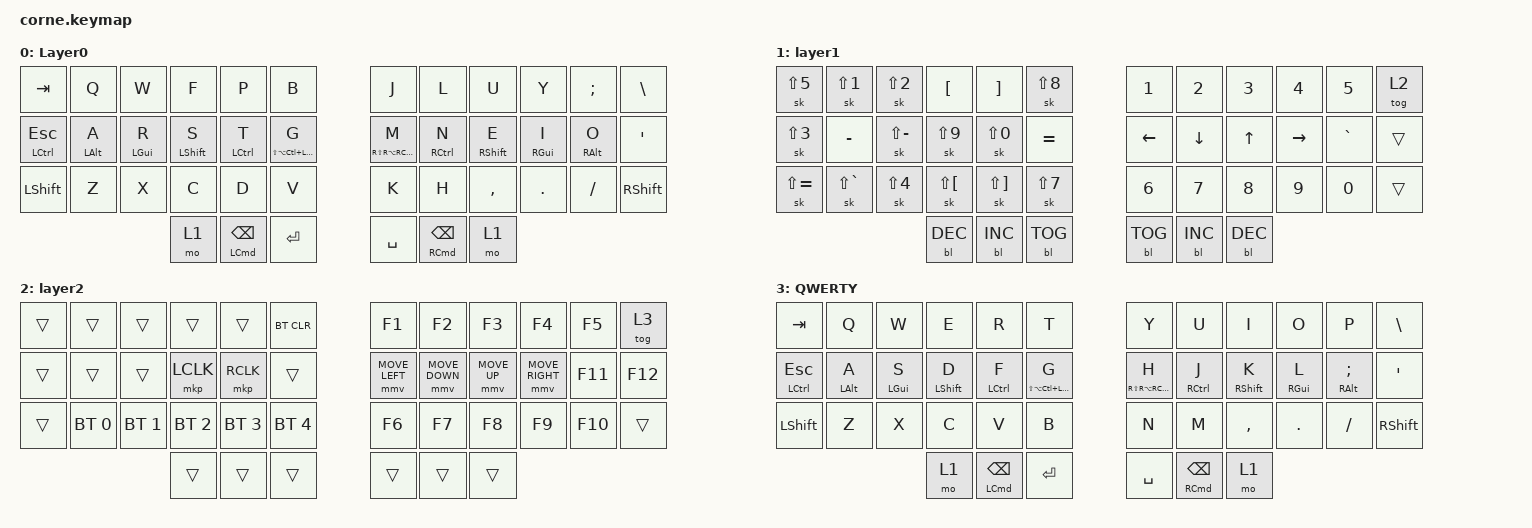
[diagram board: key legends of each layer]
/*
 * Copyright (c) 2020 The ZMK Contributors
 * Jason Biggs
 *
 * SPDX-License-Identifier: MIT
 */

#include <behaviors.dtsi>
#include <dt-bindings/zmk/backlight.h>
#include <dt-bindings/zmk/bt.h>
#include <dt-bindings/zmk/keys.h>
#include <dt-bindings/zmk/pointing.h>

/ {
    /* combos { */
    /*     compatible = "zmk,combos"; */
    /**/
    /*     left-layer2-toggle { */
    /*         bindings = <&tog 2>; */
    /*         key-positions = <37 38>; */
    /*     }; */
    /**/
    /*     right-layer2-toggle { */
    /*         bindings = <&tog 2>; */
    /*         key-positions = <39 40>; */
    /*     }; */
    /* }; */

    behaviors {
        hmr: hmr {
            compatible = "zmk,behavior-hold-tap";
            label = "HMR";
            bindings = <&kp>, <&kp>;

            #binding-cells = <2>;
            tapping-term-ms = <200>;
            quick-tap-ms = <180>;
            flavor = "tap-preferred";
            hold-trigger-on-release;
            hold-trigger-key-positions = <6 7 8 9 10 11 18 19 20 21 22 23 30 31 32 33 34 35 39 40 41 36 37 38>;
        };

        hml: hml {
            compatible = "zmk,behavior-hold-tap";
            label = "HML";
            bindings = <&kp>, <&kp>;

            #binding-cells = <2>;
            hold-trigger-key-positions = <0 1 2 4 5 12 13 14 15 16 17 24 25 26 27 28 29 36 37 38 39 40 41 3>;
            tapping-term-ms = <200>;
            quick-tap-ms = <180>;
            hold-trigger-on-release;
            flavor = "tap-preferred";
        };

        hmrs: hmrs {
            compatible = "zmk,behavior-hold-tap";
            label = "HMRS";
            bindings = <&kp>, <&kp>;

            #binding-cells = <2>;
            quick-tap-ms = <200>;
            tapping-term-ms = <250>;
            flavor = "tap-preferred";
            hold-trigger-on-release;
            hold-trigger-key-positions = <6 7 9 10 11 18 19 20 21 22 23 30 31 32 33 34 35 39 40 41 36 37 38>;
        };

        hmls: hmls {
            compatible = "zmk,behavior-hold-tap";
            label = "HMLS";
            bindings = <&kp>, <&kp>;

            #binding-cells = <2>;
            tapping-term-ms = <250>;
            quick-tap-ms = <200>;
            hold-trigger-key-positions = <0 1 2 3 4 5 12 13 14 15 16 17 24 25 26 27 28 29 36 37 38 39 40 41>;
            hold-trigger-on-release;
            flavor = "tap-preferred";
        };
    };

    combos {
        compatible = "zmk,combos";

        LayerReset {
            bindings = <&to 0>;
            key-positions = <36 41>;
        };
    };

    keymap {
        compatible = "zmk,keymap";

        Layer0 {
            // -----------------------------------------------------------------------------------------
            // |  TAB |  Q  |  W  |  F  |  P  |  B  |   |  J  |  L   |  U  |  Y  |  ;  | BSPC |
            // | CTRL |  A  |  R  |  S  |  T  |  G  |   |  M  |  N   |  E  |  I  |  O  |  '   |
            // | SHFT |  Z  |  X  |  C  |  D  |  V  |   |  K  |  H   |  ,  |  .  |  /  | ESC  |
            //                    | GUI | LWR | SPC |   | ENT | RSE  | ALT |

            bindings = <
&kp TAB                    &kp Q             &kp W             &kp F              &kp P                         &kp B                          &kp J                         &kp L                          &kp U               &kp Y              &kp SEMI           &kp BACKSLASH
&hmls LEFT_CONTROL ESCAPE  &hmls LEFT_ALT A  &hmls LEFT_GUI R  &hml LEFT_SHIFT S  &hml LCTRL T                  &hml LS(LA(LC(LEFT_GUI))) G    &hmr RS(RA(RC(RIGHT_GUI))) M  &hmr RCTRL N                   &hmr RIGHT_SHIFT E  &hmrs RIGHT_GUI I  &hmrs RIGHT_ALT O  &kp SQT
&kp LSHFT                  &kp Z             &kp X             &kp C              &kp D                         &kp V                          &kp K                         &kp H                          &kp COMMA           &kp DOT            &kp FSLH           &kp RIGHT_SHIFT
                                                               &mo 1              &hmls LEFT_COMMAND BACKSPACE  &kp ENTER                      &kp SPACE                     &hmrs RIGHT_COMMAND BACKSPACE  &mo 1
            >;
        };

        layer1 {
            // -----------------------------------------------------------------------------------------
            // |  TAB |  1  |  2  |  3  |  4  |  5  |   |  6  |  7  |  8  |  9  |  0  | BSPC |
            // | BTCLR| BT1 | BT2 | BT3 | BT4 | BT5 |   | LFT | DWN |  UP | RGT |     |      |
            // | SHFT |     |     |     |     |     |   |     |     |     |     |     |      |
            //                    | GUI |     | SPC |   | ENT |     | ALT |

            bindings = <
&sk LS(N5)     &sk LS(N1)     &sk LS(N2)     &kp LBKT      &kp RBKT      &sk LS(N8)    &kp N1      &kp N2      &kp N3      &kp N4     &kp N5     &tog 2
&sk LS(N3)     &kp MINUS      &sk LS(MINUS)  &sk LS(N9)    &sk LS(N0)    &kp EQUAL     &kp LEFT    &kp DOWN    &kp UP      &kp RIGHT  &kp GRAVE  &trans
&sk LS(EQUAL)  &sk LS(GRAVE)  &sk LS(N4)     &sk LS(LBKT)  &sk LS(RBKT)  &sk LS(N7)    &kp N6      &kp N7      &kp N8      &kp N9     &kp N0     &trans
                                             &bl BL_DEC    &bl BL_INC    &bl BL_TOG    &bl BL_TOG  &bl BL_INC  &bl BL_DEC
            >;
        };

        layer2 {
            // -----------------------------------------------------------------------------------------
            // |  TAB |  !  |  @  |  #  |  $  |  %  |   |  ^  |  &  |  *  |  (  |  )  | BSPC |
            // | CTRL |     |     |     |     |     |   |  -  |  =  |  [  |  ]  |  \  |  `   |
            // | SHFT |     |     |     |     |     |   |  _  |  +  |  {  |  }  | "|" |  ~   |
            //                    | GUI |     | SPC |   | ENT |     | ALT |

            bindings = <
&trans  &trans        &trans        &trans        &trans        &bt BT_CLR      &kp F1          &kp F2          &kp F3        &kp F4           &kp F5   &tog 3
&trans  &trans        &trans        &mkp LCLK     &mkp RCLK     &trans          &mmv MOVE_LEFT  &mmv MOVE_DOWN  &mmv MOVE_UP  &mmv MOVE_RIGHT  &kp F11  &kp F12
&trans  &bt BT_SEL 0  &bt BT_SEL 1  &bt BT_SEL 2  &bt BT_SEL 3  &bt BT_SEL 4    &kp F6          &kp F7          &kp F8        &kp F9           &kp F10  &trans
                                    &trans        &trans        &trans          &trans          &trans          &trans
            >;
        };

        QWERTY {
            // -----------------------------------------------------------------------------------------
            // |  TAB |  Q  |  W  |  E  |  R  |  T  |   |  Y  |  U   |  I  |  O  |  P  | BSPC |
            // | CTRL |  A  |  S  |  D  |  F  |  G  |   |  H  |  J   |  K  |  L  |  ;  |  '   |
            // | SHFT |  Z  |  X  |  C  |  V  |  B  |   |  N  |  M   |  ,  |  .  |  /  | ESC  |
            //                    | GUI | LWR | SPC |   | ENT | RSE  | ALT |

            bindings = <
&kp TAB                    &kp Q             &kp W             &kp E              &kp R                         &kp T                          &kp Y                         &kp U                          &kp I               &kp O              &kp P                      &kp BACKSLASH
&hmls LEFT_CONTROL ESCAPE  &hmls LEFT_ALT A  &hmls LEFT_GUI S  &hml LEFT_SHIFT D  &hml LCTRL F                  &hml LS(LA(LC(LEFT_GUI))) G    &hmr RS(RA(RC(RIGHT_GUI))) H  &hmr RCTRL J                   &hmr RIGHT_SHIFT K  &hmrs RIGHT_GUI L  &hmrs RIGHT_ALT SEMICOLON  &kp SQT
&kp LSHFT                  &kp Z             &kp X             &kp C              &kp V                         &kp B                          &kp N                         &kp M                          &kp COMMA           &kp DOT            &kp FSLH                   &kp RIGHT_SHIFT
                                                               &mo 1              &hmls LEFT_COMMAND BACKSPACE  &kp ENTER                      &kp SPACE                     &hmrs RIGHT_COMMAND BACKSPACE  &mo 1
            >;
        };
    };
};
